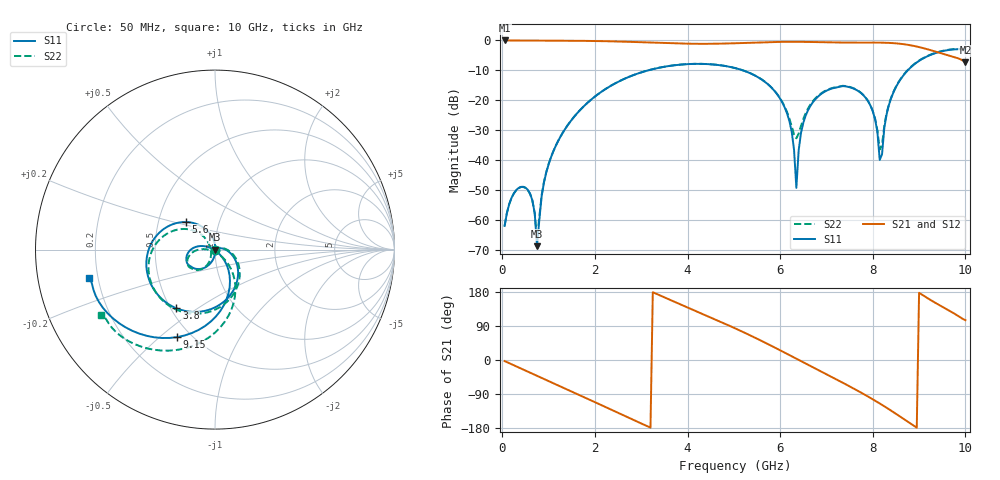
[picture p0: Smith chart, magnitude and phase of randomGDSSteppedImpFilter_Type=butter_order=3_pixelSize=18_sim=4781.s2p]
! freq	dB(S11)	phase(S11)	dB(S12)	phase(S12)
!  dB(S21)	phase(S21)	dB(S22)	phase(S22)
!S-par simulation data
#  GHz  S  DB  R 50
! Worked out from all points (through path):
!   200 points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, 50 MHz to 10 GHz, reference 50 ohm
!   highest |S21| = -0.01 dB at 50 MHz (marker M1); lowest = -7.3 dB at 10 GHz (marker M2)
!   group delay of S21, straight-line fit = 167 ps
!   lowest |S11| = -68.7 dB at 750 MHz (marker M3), VSWR 1.00, Z = 50 - j0.0366 ohm
!   |S11| at or under -10 dB: start of sweep to 3.146 GHz; 5.196 GHz to 8.755 GHz (3.559 GHz wide, 51 % of centre)
!   |S22| runs from -66.0 to -2.7 dB; largest |S21 - S12| = 0
!   S11 on the Smith chart (normalised r, x): 50 MHz: 1.00, -0.00; 3.8 GHz: 0.53, -0.41; 5.6 GHz: 0.69, +0.22; 9.15 GHz: 0.42, -0.57; 10 GHz: 0.16, -0.11
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0.05  -61.95 -49.5  -0.01 -2.8  -0.01 -2.8  -61.93 -49.9
0.5  -49.16 -112.5  -0.04 -27.7  -0.04 -27.7  -49.23 -115.8
0.65  -53.43 -120.7  -0.05 -35.9  -0.05 -35.9  -53.53 -130.8
0.75  -68.70 -93.8  -0.05 -41.4  -0.05 -41.4  -66.04 168.3
0.85  -52.01 40.7  -0.06 -47.0  -0.06 -47.0  -51.63 56.5
1  -41.37 33.8  -0.07 -55.3  -0.07 -55.3  -41.26 40.8
1.75  -22.14 -8.7  -0.14 -97.1  -0.14 -97.1  -22.12 -5.1
3.4  -9.07 -101.9  -0.83 170.7  -0.83 170.7  -9.06 -96.8
3.8  -8.15 -123.4  -1.02 149.3  -1.02 149.3  -8.14 -117.7
5.05  -9.32 169.0  -0.93 82.3  -0.93 82.3  -9.31 178.2
5.6  -13.04 136.4  -0.63 50.3  -0.63 50.3  -13.01 149.3
6.15  -24.42 100.0  -0.45 16.2  -0.45 16.2  -23.95 131.8
6.3  -36.55 82.8  -0.45 6.6  -0.45 6.6  -31.42 160.9
6.35  -49.24 -11.9  -0.45 3.4  -0.45 3.4  -32.67 -169.0
6.45  -30.88 -91.9  -0.46 -2.9  -0.46 -2.9  -28.51 -126.0
6.7  -20.78 -111.7  -0.53 -18.9  -0.53 -18.9  -20.42 -117.0
7.75  -17.62 179.0  -0.72 -86.2  -0.72 -86.2  -17.53 -171.3
8.05  -26.32 160.2  -0.71 -107.3  -0.71 -107.3  -26.12 178.1
8.15  -39.92 170.5  -0.73 -114.6  -0.73 -114.6  -36.43 -147.8
8.35  -21.49 -49.6  -0.82 -130.0  -0.82 -130.0  -21.22 -46.1
9.15  -5.50 -113.3  -2.81 165.7  -2.81 165.7  -5.39 -100.9
10  -2.85 -167.5  -7.31 105.1  -7.31 105.1  -2.74 -150.1
